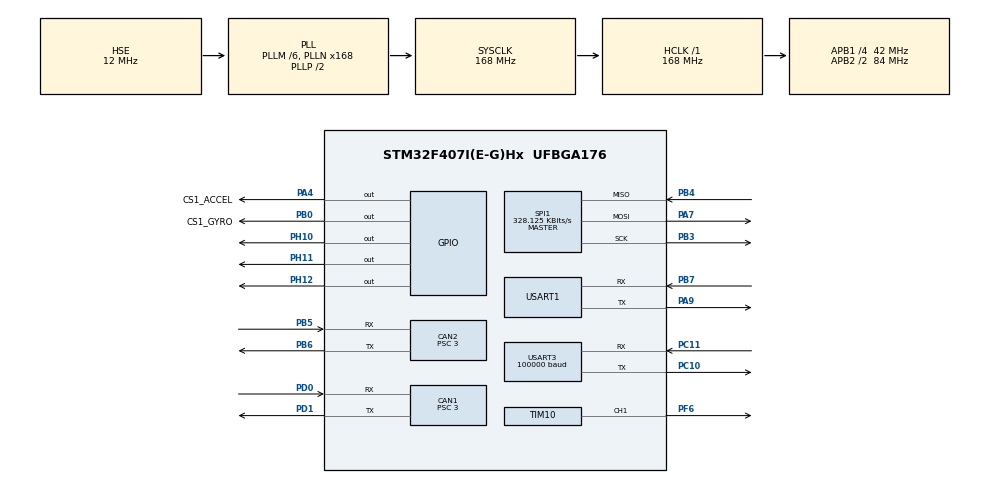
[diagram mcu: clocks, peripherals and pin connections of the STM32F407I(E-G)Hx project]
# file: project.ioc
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CAN1.BS1=CAN_BS1_10TQ
CAN1.BS2=CAN_BS2_3TQ
CAN1.CalculateBaudRate=1000000
CAN1.CalculateTimeBit=1000
CAN1.CalculateTimeQuantum=71.42857142857143
CAN1.NART=ENABLE
CAN1.Prescaler=3
CAN1.TXFP=ENABLE
CAN2.BS1=CAN_BS1_10TQ
CAN2.BS2=CAN_BS2_3TQ
CAN2.CalculateBaudRate=1000000
CAN2.CalculateTimeBit=1000
CAN2.CalculateTimeQuantum=71.42857142857143
CAN2.NART=ENABLE
CAN2.Prescaler=3
CAN2.TXFP=ENABLE
Dma.Request0=USART1_RX
Dma.Request1=USART1_TX
Dma.Request2=USART3_RX
Dma.Request3=SPI1_RX
Dma.Request4=SPI1_TX
Dma.SPI1_RX.3.Direction=DMA_PERIPH_TO_MEMORY
Dma.SPI1_RX.3.FIFOMode=DMA_FIFOMODE_DISABLE
Dma.SPI1_RX.3.Instance=DMA2_Stream2
Dma.SPI1_RX.3.MemDataAlignment=DMA_MDATAALIGN_BYTE
Dma.SPI1_RX.3.MemInc=DMA_MINC_ENABLE
Dma.SPI1_RX.3.Mode=DMA_NORMAL
Dma.SPI1_RX.3.PeriphDataAlignment=DMA_PDATAALIGN_BYTE
Dma.SPI1_RX.3.PeriphInc=DMA_PINC_DISABLE
Dma.SPI1_RX.3.Priority=DMA_PRIORITY_VERY_HIGH
Dma.SPI1_TX.4.Direction=DMA_MEMORY_TO_PERIPH
Dma.SPI1_TX.4.FIFOMode=DMA_FIFOMODE_DISABLE
Dma.SPI1_TX.4.Instance=DMA2_Stream3
Dma.SPI1_TX.4.MemDataAlignment=DMA_MDATAALIGN_BYTE
Dma.SPI1_TX.4.MemInc=DMA_MINC_ENABLE
Dma.SPI1_TX.4.Mode=DMA_NORMAL
Dma.SPI1_TX.4.PeriphDataAlignment=DMA_PDATAALIGN_BYTE
Dma.SPI1_TX.4.PeriphInc=DMA_PINC_DISABLE
Dma.SPI1_TX.4.Priority=DMA_PRIORITY_HIGH
Dma.USART1_RX.0.Direction=DMA_PERIPH_TO_MEMORY
Dma.USART1_RX.0.FIFOMode=DMA_FIFOMODE_DISABLE
Dma.USART1_RX.0.Instance=DMA2_Stream5
Dma.USART1_RX.0.MemDataAlignment=DMA_MDATAALIGN_BYTE
Dma.USART1_RX.0.MemInc=DMA_MINC_ENABLE
Dma.USART1_RX.0.Mode=DMA_NORMAL
Dma.USART1_RX.0.PeriphDataAlignment=DMA_PDATAALIGN_BYTE
Dma.USART1_RX.0.PeriphInc=DMA_PINC_DISABLE
Dma.USART1_RX.0.Priority=DMA_PRIORITY_VERY_HIGH
Dma.USART1_TX.1.Direction=DMA_MEMORY_TO_PERIPH
Dma.USART1_TX.1.FIFOMode=DMA_FIFOMODE_DISABLE
Dma.USART1_TX.1.Instance=DMA2_Stream7
Dma.USART1_TX.1.MemDataAlignment=DMA_MDATAALIGN_BYTE
Dma.USART1_TX.1.MemInc=DMA_MINC_ENABLE
Dma.USART1_TX.1.Mode=DMA_NORMAL
Dma.USART1_TX.1.PeriphDataAlignment=DMA_PDATAALIGN_BYTE
Dma.USART1_TX.1.PeriphInc=DMA_PINC_DISABLE
Dma.USART1_TX.1.Priority=DMA_PRIORITY_VERY_HIGH
Dma.USART3_RX.2.Direction=DMA_PERIPH_TO_MEMORY
Dma.USART3_RX.2.FIFOMode=DMA_FIFOMODE_DISABLE
Dma.USART3_RX.2.Instance=DMA1_Stream1
Dma.USART3_RX.2.MemDataAlignment=DMA_MDATAALIGN_BYTE
Dma.USART3_RX.2.MemInc=DMA_MINC_ENABLE
Dma.USART3_RX.2.Mode=DMA_NORMAL
Dma.USART3_RX.2.PeriphDataAlignment=DMA_PDATAALIGN_BYTE
Dma.USART3_RX.2.PeriphInc=DMA_PINC_DISABLE
Dma.USART3_RX.2.Priority=DMA_PRIORITY_LOW
FREERTOS.Tasks01=defaultTask,24,1024,StartDefaultTask,Default,NULL,Dynamic,NULL,NULL;chassis,40,1024,chassis_task,Default,NULL,Dynamic,NULL,NULL;gimbal,8,1024,gimbal_task,Default,NULL,Dynamic,NULL,NULL
FREERTOS.configUSE_NEWLIB_REENTRANT=1
Mcu.Family=STM32F4
Mcu.Name=STM32F407I(E-G)Hx
Mcu.Package=UFBGA176
NVIC.CAN1_RX0_IRQn=true\:5\:0\:false\:false\:true\:true\:true\:true\:true
NVIC.CAN1_RX1_IRQn=true\:5\:0\:false\:false\:true\:true\:true\:true\:true
NVIC.CAN2_RX0_IRQn=true\:5\:0\:false\:false\:true\:true\:true\:true\:true
NVIC.CAN2_RX1_IRQn=true\:5\:0\:false\:false\:true\:true\:true\:true\:true
NVIC.DMA1_Stream1_IRQn=true\:5\:0\:false\:false\:true\:true\:false\:true\:true
NVIC.DMA2_Stream2_IRQn=true\:5\:0\:false\:false\:true\:false\:false\:true\:true
NVIC.DMA2_Stream3_IRQn=true\:5\:0\:false\:false\:true\:true\:false\:true\:true
NVIC.DMA2_Stream5_IRQn=true\:5\:0\:false\:false\:true\:false\:false\:true\:true
NVIC.DMA2_Stream7_IRQn=true\:5\:0\:false\:false\:true\:true\:false\:true\:true
NVIC.PriorityGroup=NVIC_PRIORITYGROUP_4
NVIC.TIM8_TRG_COM_TIM14_IRQn=true\:15\:0\:false\:false\:true\:false\:false\:true\:true
NVIC.TimeBase=TIM8_TRG_COM_TIM14_IRQn
NVIC.TimeBaseIP=TIM14
NVIC.USART1_IRQn=true\:5\:0\:false\:false\:true\:true\:true\:true\:true
NVIC.USART3_IRQn=true\:5\:0\:false\:false\:true\:true\:true\:true\:true
PA13.Mode=Serial_Wire
PA13.Signal=SYS_JTMS-SWDIO
PA14.Mode=Serial_Wire
PA14.Signal=SYS_JTCK-SWCLK
PA4.GPIO_Label=CS1_ACCEL
PA4.GPIO_Speed=GPIO_SPEED_FREQ_HIGH
PA4.PinState=GPIO_PIN_SET
PA4.Signal=GPIO_Output
PA7.Mode=Full_Duplex_Master
PA7.Signal=SPI1_MOSI
PA9.Mode=Asynchronous
PA9.Signal=USART1_TX
PB0.GPIO_Label=CS1_GYRO
PB0.GPIO_Speed=GPIO_SPEED_FREQ_HIGH
PB0.PinState=GPIO_PIN_SET
PB0.Signal=GPIO_Output
PB3.Mode=Full_Duplex_Master
PB3.Signal=SPI1_SCK
PB4.Mode=Full_Duplex_Master
PB4.Signal=SPI1_MISO
PB5.Mode=CAN_Activate
PB5.Signal=CAN2_RX
PB6.Mode=CAN_Activate
PB6.Signal=CAN2_TX
PB7.Mode=Asynchronous
PB7.Signal=USART1_RX
PC10.Mode=Asynchronous
PC10.Signal=USART3_TX
PC11.Mode=Asynchronous
PC11.Signal=USART3_RX
PD0.Mode=CAN_Activate
PD0.Signal=CAN1_RX
PD1.Mode=CAN_Activate
PD1.Signal=CAN1_TX
PF6.Signal=S_TIM10_CH1
PH0-OSC_IN.Mode=HSE-External-Oscillator
PH0-OSC_IN.Signal=RCC_OSC_IN
PH1-OSC_OUT.Mode=HSE-External-Oscillator
PH1-OSC_OUT.Signal=RCC_OSC_OUT
PH10.PinState=GPIO_PIN_SET
PH10.Signal=GPIO_Output
PH11.GPIO_PuPd=GPIO_NOPULL
PH11.PinState=GPIO_PIN_SET
PH11.Signal=GPIO_Output
PH12.GPIO_PuPd=GPIO_NOPULL
PH12.PinState=GPIO_PIN_SET
PH12.Signal=GPIO_Output
ProjectManager.HeapSize=0x200
ProjectManager.StackSize=0x400
ProjectManager.TargetToolchain=STM32CubeIDE
RCC.48MHZClocksFreq_Value=84000000
RCC.AHBFreq_Value=168000000
RCC.APB1CLKDivider=RCC_HCLK_DIV4
RCC.APB1Freq_Value=42000000
RCC.APB1TimFreq_Value=84000000
RCC.APB2CLKDivider=RCC_HCLK_DIV2
RCC.APB2Freq_Value=84000000
RCC.APB2TimFreq_Value=168000000
RCC.CortexFreq_Value=168000000
RCC.HCLKFreq_Value=168000000
RCC.HSE_VALUE=12000000
RCC.HSI_VALUE=16000000
RCC.LSE_VALUE=32768
RCC.PLLM=6
RCC.PLLN=168
RCC.PLLSourceVirtual=RCC_PLLSOURCE_HSE
RCC.SYSCLKFreq_VALUE=168000000
RCC.SYSCLKSource=RCC_SYSCLKSOURCE_PLLCLK
RCC.VCOOutputFreq_Value=336000000
SH.S_TIM10_CH1.0=TIM10_CH1,PWM Generation1 CH1
SPI1.BaudRatePrescaler=SPI_BAUDRATEPRESCALER_256
SPI1.CLKPhase=SPI_PHASE_2EDGE
SPI1.CLKPolarity=SPI_POLARITY_HIGH
SPI1.CalculateBaudRate=328.125 KBits/s
SPI1.Direction=SPI_DIRECTION_2LINES
SPI1.Mode=SPI_MODE_MASTER
SPI1.VirtualType=VM_MASTER
TIM10.Channel=TIM_CHANNEL_1
USART1.VirtualMode=VM_ASYNC
USART3.BaudRate=100000
USART3.Parity=PARITY_EVEN
USART3.VirtualMode=VM_ASYNC
USART3.WordLength=WORDLENGTH_9B
VP_FREERTOS_VS_CMSIS_V2.Mode=CMSIS_V2
VP_SYS_VS_tim14.Mode=TIM14
VP_TIM10_VS_ClockSourceINT.Mode=Enable_Timer
board=custom

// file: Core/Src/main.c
/* USER CODE BEGIN Header */
/**
  ******************************************************************************
  * @file           : main.c
  * @brief          : Main program body
  ******************************************************************************
  * @attention
  *
  * Copyright (c) 2024 STMicroelectronics.
  * All rights reserved.
  *
  * This software is licensed under terms that can be found in the LICENSE file
  * in the root directory of this software component.
  * If no LICENSE file comes with this software, it is provided AS-IS.
  *
  ******************************************************************************
  */
/* USER CODE END Header */
#include "main.h"
#include "cmsis_os.h"
#include "can.h"
#include "dma.h"
#include "spi.h"
#include "tim.h"
#include "usart.h"
#include "gpio.h"

/* USER CODE BEGIN Includes */
#include "dr16.h"
#include "chassis.h"
#include "BMI088.h"
#include "bsp_can.h"
#include "bsp_pid.h"
#include "IMU.h"
/* USER CODE END Includes */

void SystemClock_Config(void);
void MX_FREERTOS_Init(void);

int main(void)
{

  /* MCU Configuration--------------------------------------------------------*/

  /* Reset of all peripherals, Initializes the Flash interface and the Systick. */
  HAL_Init();

  /* Configure the system clock */
  SystemClock_Config();

  /* Initialize all configured peripherals */
  MX_GPIO_Init();
  MX_DMA_Init();
  MX_USART1_UART_Init();
  MX_CAN1_Init();
  MX_CAN2_Init();
  MX_USART3_UART_Init();
  MX_SPI1_Init();
  MX_TIM10_Init();
  /* USER CODE BEGIN 2 */

  CAN_Filter_Init(&hcan1);
  CAN_Filter_Init(&hcan2);
  IMU_Init();
  //BMI088_FLOAT_ACC_GYRO_Init();

  /* USER CODE END 2 */

  /* Init scheduler */
  osKernelInitialize();

  /* Call init function for freertos objects (in cmsis_os2.c) */
  MX_FREERTOS_Init();

  /* Start scheduler */
  osKernelStart();

  /* We should never get here as control is now taken by the scheduler */

  /* Infinite loop */
  while (1)
  {

  }
}

void SystemClock_Config(void)
{
  RCC_OscInitTypeDef RCC_OscInitStruct = {0};
  RCC_ClkInitTypeDef RCC_ClkInitStruct = {0};

  /** Configure the main internal regulator output voltage
  */
  __HAL_RCC_PWR_CLK_ENABLE();
  __HAL_PWR_VOLTAGESCALING_CONFIG(PWR_REGULATOR_VOLTAGE_SCALE1);

  /** Initializes the RCC Oscillators according to the specified parameters
  * in the RCC_OscInitTypeDef structure.
  */
  RCC_OscInitStruct.OscillatorType = RCC_OSCILLATORTYPE_HSE;
  RCC_OscInitStruct.HSEState = RCC_HSE_ON;
  RCC_OscInitStruct.PLL.PLLState = RCC_PLL_ON;
  RCC_OscInitStruct.PLL.PLLSource = RCC_PLLSOURCE_HSE;
  RCC_OscInitStruct.PLL.PLLM = 6;
  RCC_OscInitStruct.PLL.PLLN = 168;
  RCC_OscInitStruct.PLL.PLLP = RCC_PLLP_DIV2;
  RCC_OscInitStruct.PLL.PLLQ = 4;
  if (HAL_RCC_OscConfig(&RCC_OscInitStruct) != HAL_OK)
  {
    Error_Handler();
  }

  /** Initializes the CPU, AHB and APB buses clocks
  */
  RCC_ClkInitStruct.ClockType = RCC_CLOCKTYPE_HCLK|RCC_CLOCKTYPE_SYSCLK
                              |RCC_CLOCKTYPE_PCLK1|RCC_CLOCKTYPE_PCLK2;
  RCC_ClkInitStruct.SYSCLKSource = RCC_SYSCLKSOURCE_PLLCLK;
  RCC_ClkInitStruct.AHBCLKDivider = RCC_SYSCLK_DIV1;
  RCC_ClkInitStruct.APB1CLKDivider = RCC_HCLK_DIV4;
  RCC_ClkInitStruct.APB2CLKDivider = RCC_HCLK_DIV2;

  if (HAL_RCC_ClockConfig(&RCC_ClkInitStruct, FLASH_LATENCY_5) != HAL_OK)
  {
    Error_Handler();
  }
}

void HAL_TIM_PeriodElapsedCallback(TIM_HandleTypeDef *htim)
{
  if (htim->Instance == TIM14) {
    HAL_IncTick();
  }
}

void Error_Handler(void)
{
  __disable_irq();
  while (1)
  {
  }
}

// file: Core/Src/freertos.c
/* USER CODE BEGIN Header */
/**
  ******************************************************************************
  * File Name          : freertos.c
  * Description        : Code for freertos applications
  ******************************************************************************
  * @attention
  *
  * Copyright (c) 2024 STMicroelectronics.
  * All rights reserved.
  *
  * This software is licensed under terms that can be found in the LICENSE file
  * in the root directory of this software component.
  * If no LICENSE file comes with this software, it is provided AS-IS.
  *
  ******************************************************************************
  */
/* USER CODE END Header */

#include "FreeRTOS.h"
#include "task.h"
#include "main.h"
#include "cmsis_os.h"

/* USER CODE BEGIN Includes */
#include <stdio.h>
#include <string.h>

#include "BMI088.h"
#include "chassis.h"
#include "dr16.h"
#include "gimbal.h"
#include "IMU.h"
#include "motor_dm.h"
#include "usart.h"
/* USER CODE END Includes */

/* USER CODE BEGIN Variables */
char tx_buffer [100];
/* USER CODE END Variables */
/* Definitions for defaultTask */
osThreadId_t defaultTaskHandle;
const osThreadAttr_t defaultTask_attributes = {
  .name = "defaultTask",
  .stack_size = 1024 * 4,
  .priority = (osPriority_t) osPriorityNormal,
};
/* Definitions for chassis */
osThreadId_t chassisHandle;
const osThreadAttr_t chassis_attributes = {
  .name = "chassis",
  .stack_size = 1024 * 4,
  .priority = (osPriority_t) osPriorityHigh,
};
/* Definitions for gimbal */
osThreadId_t gimbalHandle;
const osThreadAttr_t gimbal_attributes = {
  .name = "gimbal",
  .stack_size = 1024 * 4,
  .priority = (osPriority_t) osPriorityLow,
};

void StartDefaultTask(void *argument);
void chassis_task(void *argument);
void gimbal_task(void *argument);

void MX_FREERTOS_Init(void); /* (MISRA C 2004 rule 8.1) */

void MX_FREERTOS_Init(void) {

  /* Create the thread(s) */
  /* creation of defaultTask */
  defaultTaskHandle = osThreadNew(StartDefaultTask, NULL, &defaultTask_attributes);

  /* creation of chassis */
  chassisHandle = osThreadNew(chassis_task, NULL, &chassis_attributes);

  /* creation of gimbal */
  gimbalHandle = osThreadNew(gimbal_task, NULL, &gimbal_attributes);

}

void StartDefaultTask(void *argument)
{
  for(;;)
  {
    osDelay(1);
  }
}

void chassis_task(void *argument)
{
  /* USER CODE BEGIN chassis_task */
  /* Infinite loop */
  for(;;)
  {
    HAL_GPIO_WritePin(GPIOH, GPIO_PIN_10, 1);
    HAL_GPIO_WritePin(GPIOH, GPIO_PIN_11, 1);
    HAL_GPIO_WritePin(GPIOH, GPIO_PIN_12, 1);

    IMU_GetValue();

    cmd_trans(0x400, 0, 0, 0, (int16_t)BMI088.yaw);

    //sprintf(tx_buffer, "%f,%f,%f,%d\r\n", BMI088.gyro_z, BMI088.yaw, BMI088.yawsum, BMI088.yaw_turns);
    //HAL_UART_Transmit(&huart1, tx_buffer, strlen(tx_buffer), 100);

    osDelay(1);
  }
  /* USER CODE END chassis_task */
}

void gimbal_task(void *argument)
{
  /* USER CODE BEGIN gimbal_task */
  gimbal_Init();
  /* Infinite loop */
  for(;;)
  {
    gimbal_dm(can2_value[1]);

    sprintf(tx_buffer, "%f,%f,%d,%d\r\n", motor_dm.motor_dm_rx_data.Now_Angle, motor_dm.motor_dm_rx_data.Now_Omega, sw[0], motor__[5][0]);
    HAL_UART_Transmit(&huart1, tx_buffer, strlen(tx_buffer), 100);

    osDelay(1);
  }
  /* USER CODE END gimbal_task */
}
